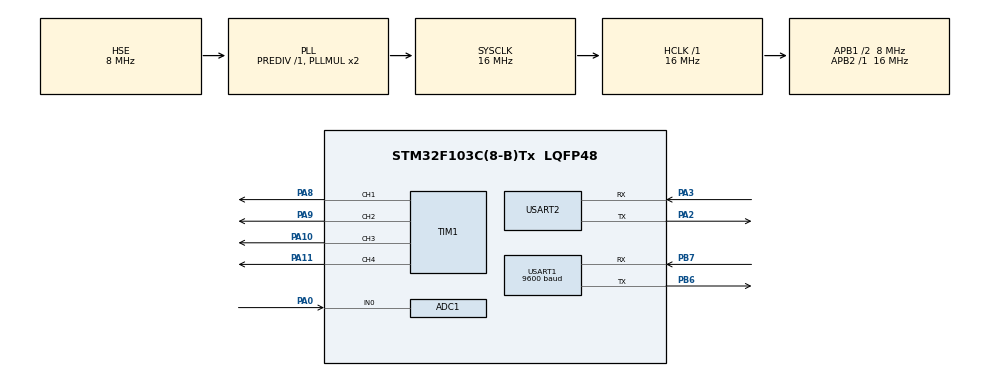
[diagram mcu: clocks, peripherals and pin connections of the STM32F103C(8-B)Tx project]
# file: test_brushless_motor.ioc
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ADC1.Channel-0\#ChannelRegularConversion=ADC_CHANNEL_0
ADC1.NbrOfConversionFlag=1
ADC1.Rank-0\#ChannelRegularConversion=1
ADC1.SamplingTime-0\#ChannelRegularConversion=ADC_SAMPLETIME_1CYCLE_5
ADC1.master=1
Mcu.Family=STM32F1
Mcu.Name=STM32F103C(8-B)Tx
Mcu.Package=LQFP48
NVIC.PriorityGroup=NVIC_PRIORITYGROUP_4
NVIC.USART1_IRQn=true\:0\:0\:false\:false\:true\:true\:true\:true
PA0-WKUP.Signal=ADCx_IN0
PA10.Signal=S_TIM1_CH3
PA11.Signal=S_TIM1_CH4
PA13.Mode=Serial_Wire
PA13.Signal=SYS_JTMS-SWDIO
PA14.Mode=Serial_Wire
PA14.Signal=SYS_JTCK-SWCLK
PA2.Mode=Asynchronous
PA2.Signal=USART2_TX
PA3.Mode=Asynchronous
PA3.Signal=USART2_RX
PA8.Signal=S_TIM1_CH1
PA9.Signal=S_TIM1_CH2
PB6.Mode=Asynchronous
PB6.Signal=USART1_TX
PB7.Mode=Asynchronous
PB7.Signal=USART1_RX
PD0-OSC_IN.Mode=HSE-External-Oscillator
PD0-OSC_IN.Signal=RCC_OSC_IN
PD1-OSC_OUT.Mode=HSE-External-Oscillator
PD1-OSC_OUT.Signal=RCC_OSC_OUT
ProjectManager.HeapSize=0x200
ProjectManager.StackSize=0x400
ProjectManager.TargetToolchain=MDK-ARM V5.32
RCC.AHBFreq_Value=16000000
RCC.APB1CLKDivider=RCC_HCLK_DIV2
RCC.APB1Freq_Value=8000000
RCC.APB1TimFreq_Value=16000000
RCC.APB2Freq_Value=16000000
RCC.APB2TimFreq_Value=16000000
RCC.EnbaleCSS=true
RCC.HCLKFreq_Value=16000000
RCC.PLLSourceVirtual=RCC_PLLSOURCE_HSE
RCC.SYSCLKFreq_VALUE=16000000
RCC.SYSCLKSource=RCC_SYSCLKSOURCE_PLLCLK
RCC.USBFreq_Value=16000000
SH.ADCx_IN0.0=ADC1_IN0,IN0
SH.S_TIM1_CH1.0=TIM1_CH1,PWM Generation1 CH1
SH.S_TIM1_CH2.0=TIM1_CH2,PWM Generation2 CH2
SH.S_TIM1_CH3.0=TIM1_CH3,PWM Generation3 CH3
SH.S_TIM1_CH4.0=TIM1_CH4,PWM Generation4 CH4
TIM1.Channel-PWM\ Generation1\ CH1=TIM_CHANNEL_1
TIM1.Channel-PWM\ Generation2\ CH2=TIM_CHANNEL_2
TIM1.Channel-PWM\ Generation3\ CH3=TIM_CHANNEL_3
TIM1.Channel-PWM\ Generation4\ CH4=TIM_CHANNEL_4
USART1.BaudRate=9600
USART1.VirtualMode=VM_ASYNC
USART2.VirtualMode=VM_ASYNC
board=custom

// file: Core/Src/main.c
/* USER CODE BEGIN Header */
/**
  ******************************************************************************
  * @file           : main.c
  * @brief          : Main program body
  ******************************************************************************
  * @attention
  *
  * Copyright (c) 2023 STMicroelectronics.
  * All rights reserved.
  *
  * This software is licensed under terms that can be found in the LICENSE file
  * in the root directory of this software component.
  * If no LICENSE file comes with this software, it is provided AS-IS.
  *
  ******************************************************************************
  */
/* USER CODE END Header */
#include "main.h"

ADC_HandleTypeDef hadc1;

TIM_HandleTypeDef htim1;

UART_HandleTypeDef huart1;
UART_HandleTypeDef huart2;

/* USER CODE BEGIN PV */
#define MAX_MOTOR_SPEED 15000
int z = 0, cnt = -1, x=0, y=0;
uint8_t bt, tmp[100];
uint8_t Rx_flag = 0;
int pot;
#define RX2_Size 8
uint8_t Rx2_Buff[RX2_Size];
float Pitch=0, Roll=0, Heading=0;
float Pitch_correction = 0, Roll_correction = 0, Heading_correction = 0;
float Pitch_set = 0, Roll_set = 0, Heading_set = 0;
float Roll_K_p = 30, Pitch_K_p = 30, Heading_K_p = 70;
uint8_t GY_A5[] = {0xA5}, GY_54[] = {0x54}, GY_51[] = {0x51}, GY_55[] = {0x55}, GY_Init_Command[]    = {0xA5, 0x54, 0xA5, 0x51}, GY_Request_Command[] = {0xA5, 0x51}, GY_Set_Command[] = {0xA5, 0x55};
void initGY(){
	HAL_Delay(500);
	HAL_UART_Transmit(&huart2, GY_A5, 1, 100);
	HAL_UART_Transmit(&huart2, GY_54, 1, 100);
	HAL_Delay(500);
	HAL_UART_Transmit(&huart2, GY_A5, 1, 100);
	HAL_UART_Transmit(&huart2, GY_51, 1, 100);
	HAL_Delay(500);
	HAL_UART_Transmit(&huart2, GY_A5, 1, 100);
	HAL_UART_Transmit(&huart2, GY_55, 1, 100);
	HAL_Delay(500);
}
void readGY(){
	HAL_UART_Transmit(&huart2, GY_A5, 1, 100);
	HAL_UART_Transmit(&huart2, GY_51, 1, 100);
	HAL_UART_Receive(&huart2, Rx2_Buff, RX2_Size, 100);
	for(int i=0; i<RX2_Size; i++){
		if(Rx2_Buff[i] == 0xAA){
			Heading = (int16_t)(Rx2_Buff[(i+1)%8]<<8 | Rx2_Buff[(i+2)%8])/100.00 + Heading_set;
			Pitch = (int16_t)(Rx2_Buff[(i+3)%8]<<8 | Rx2_Buff[(i+4)%8])/100.00 + Pitch_set + y;
			Roll = (int16_t)(Rx2_Buff[(i+5)%8]<<8 | Rx2_Buff[(i+6)%8])/100.00 + Roll_set + x;

			if(Heading > 180) Heading -= 360;
			if(Heading <-180) Heading += 360;
			if(Pitch > 180) Pitch -= 360;
			if(Pitch <-180) Pitch += 360;
			if(Roll > 180) Roll -= 360;
			if(Roll <-180) Roll += 360;
		}
	}
}
void delay(long int _time){
	for(int i=0; i<_time*1000;i++);
}
void motor(int FL, int BL, int BR, int FR){
	BL -= 160+50;
	FL -= 50;
	FR -= 50;
	if(FL > MAX_MOTOR_SPEED) FL = MAX_MOTOR_SPEED;
	if(FL < 0)   						 FL = 0;
	if(BL > MAX_MOTOR_SPEED) BL = MAX_MOTOR_SPEED;
	if(BL < 0)  						 BL = 0;
	if(BR > MAX_MOTOR_SPEED) BR = MAX_MOTOR_SPEED;
	if(BR < 0) 							 BR = 0;
	if(FR > MAX_MOTOR_SPEED) FR = MAX_MOTOR_SPEED;
	if(FR < 0) 							 FR = 0;

	TIM1->CCR1 = 16000 + BR; //BR
	TIM1->CCR2 = 16000 + BL; //BL
	TIM1->CCR3 = 16000 + FL; //FL
	TIM1->CCR4 = 16000 + FR; //FR
}
void HAL_UART_RxCpltCallback(UART_HandleTypeDef *huart)
{
	cnt++;
	tmp[cnt] = bt;
	if(cnt >= 100){
		for(int i=0; i<100; i++) tmp[i] = 0;
		cnt = -1;
	}
	Rx_flag = 1;
	HAL_UART_Receive_IT(&huart1, &bt, 1);
}

/* USER CODE END PV */

void SystemClock_Config(void);
static void MX_GPIO_Init(void);
static void MX_ADC1_Init(void);
static void MX_TIM1_Init(void);
static void MX_USART2_UART_Init(void);
static void MX_USART1_UART_Init(void);

int main(void)
{

  /* MCU Configuration-------------------------------------------------------*/

  /* Reset of all peripherals, Initializes the Flash interface and the Systick. */
  HAL_Init();

  /* Configure the system clock */
  SystemClock_Config();

  /* Initialize all configured peripherals */
  MX_GPIO_Init();
  MX_ADC1_Init();
  MX_TIM1_Init();
  MX_USART2_UART_Init();
  MX_USART1_UART_Init();
  /* USER CODE BEGIN 2 */

	HAL_TIM_PWM_Start(&htim1, TIM_CHANNEL_1);
	HAL_TIM_PWM_Start(&htim1, TIM_CHANNEL_2);
	HAL_TIM_PWM_Start(&htim1, TIM_CHANNEL_3);
	HAL_TIM_PWM_Start(&htim1, TIM_CHANNEL_4);
	initGY();
	HAL_UART_Receive_IT(&huart1, &bt, 1);

  /* USER CODE END 2 */

  /* Infinite loop */
  while (1)
  {

    /* USER CODE BEGIN 3 */
//		HAL_ADC_Start(&hadc1);
//	  HAL_ADC_PollForConversion(&hadc1, 100);
//	  pot = HAL_ADC_GetValue(&hadc1)*3.42+16000;
//	  HAL_ADC_Stop(&hadc1);
//		if(pot > 65535) pot = 65535;
		if(Rx_flag == 1){
			if(tmp[cnt] == '\n'){
				for(int i = cnt-1; i >= cnt - 5 && tmp[i] != '\n'; i--){
					if(tmp[i] == 'J'){
						z = 0;
						for(int j=i+1; j<cnt; j++){
							z = z*10 + (tmp[j]-'0');
						}
						z = z*32;
						i = -1;
					}
					if(tmp[i] == 'X')	Roll_set  += 0.5;
					if(tmp[i] == 'Y')	Roll_set  -= 0.5;
					if(tmp[i] == 'N')	Pitch_set += 0.5;
					if(tmp[i] == 'M')	Pitch_set -= 0.5;
					if(tmp[i] == 'F')	y = -15;
					if(tmp[i] == 'G')	y = 15;
					if(tmp[i] == 'R')	x = -15;
					if(tmp[i] == 'L')	x = 15;
					if(tmp[i] == 'S')	{
						x = 0;
						y = 0;
					}
				}
			}
			Rx_flag = 0;
		}

		if(z == 0){
			Roll_correction = 0;
			Pitch_correction = 0;
			Heading_correction = 0;
		}
		else{
			Roll_correction = Roll * Roll_K_p;
			Pitch_correction = Pitch * Pitch_K_p;
			Heading_correction = Heading * Heading_K_p;
		}

		if(Roll > 40 || Roll < -40 || Pitch > 40 || Pitch < -40){
			motor(0,0,0,0);
		}
		else {
			//motor(z, z, z, z);
			motor(
				z - Roll_correction + Pitch_correction + Heading_correction,
				z - Roll_correction - Pitch_correction - Heading_correction,
				z + Roll_correction - Pitch_correction + Heading_correction,
				z + Roll_correction + Pitch_correction - Heading_correction
			);
		}
		//motor(0, 0, 0, 0);
		readGY();

  }
  /* USER CODE END 3 */
}

void SystemClock_Config(void)
{
  RCC_OscInitTypeDef RCC_OscInitStruct = {0};
  RCC_ClkInitTypeDef RCC_ClkInitStruct = {0};
  RCC_PeriphCLKInitTypeDef PeriphClkInit = {0};

  /** Initializes the RCC Oscillators according to the specified parameters
  * in the RCC_OscInitTypeDef structure.
  */
  RCC_OscInitStruct.OscillatorType = RCC_OSCILLATORTYPE_HSE;
  RCC_OscInitStruct.HSEState = RCC_HSE_ON;
  RCC_OscInitStruct.HSEPredivValue = RCC_HSE_PREDIV_DIV1;
  RCC_OscInitStruct.HSIState = RCC_HSI_ON;
  RCC_OscInitStruct.PLL.PLLState = RCC_PLL_ON;
  RCC_OscInitStruct.PLL.PLLSource = RCC_PLLSOURCE_HSE;
  RCC_OscInitStruct.PLL.PLLMUL = RCC_PLL_MUL2;
  if (HAL_RCC_OscConfig(&RCC_OscInitStruct) != HAL_OK)
  {
    Error_Handler();
  }

  /** Initializes the CPU, AHB and APB buses clocks
  */
  RCC_ClkInitStruct.ClockType = RCC_CLOCKTYPE_HCLK|RCC_CLOCKTYPE_SYSCLK
                              |RCC_CLOCKTYPE_PCLK1|RCC_CLOCKTYPE_PCLK2;
  RCC_ClkInitStruct.SYSCLKSource = RCC_SYSCLKSOURCE_PLLCLK;
  RCC_ClkInitStruct.AHBCLKDivider = RCC_SYSCLK_DIV1;
  RCC_ClkInitStruct.APB1CLKDivider = RCC_HCLK_DIV2;
  RCC_ClkInitStruct.APB2CLKDivider = RCC_HCLK_DIV1;

  if (HAL_RCC_ClockConfig(&RCC_ClkInitStruct, FLASH_LATENCY_0) != HAL_OK)
  {
    Error_Handler();
  }
  PeriphClkInit.PeriphClockSelection = RCC_PERIPHCLK_ADC;
  PeriphClkInit.AdcClockSelection = RCC_ADCPCLK2_DIV2;
  if (HAL_RCCEx_PeriphCLKConfig(&PeriphClkInit) != HAL_OK)
  {
    Error_Handler();
  }

  /** Enables the Clock Security System
  */
  HAL_RCC_EnableCSS();
}

static void MX_ADC1_Init(void)
{

  ADC_ChannelConfTypeDef sConfig = {0};

  /** Common config
  */
  hadc1.Instance = ADC1;
  hadc1.Init.ScanConvMode = ADC_SCAN_DISABLE;
  hadc1.Init.ContinuousConvMode = DISABLE;
  hadc1.Init.DiscontinuousConvMode = DISABLE;
  hadc1.Init.ExternalTrigConv = ADC_SOFTWARE_START;
  hadc1.Init.DataAlign = ADC_DATAALIGN_RIGHT;
  hadc1.Init.NbrOfConversion = 1;
  if (HAL_ADC_Init(&hadc1) != HAL_OK)
  {
    Error_Handler();
  }

  /** Configure Regular Channel
  */
  sConfig.Channel = ADC_CHANNEL_0;
  sConfig.Rank = ADC_REGULAR_RANK_1;
  sConfig.SamplingTime = ADC_SAMPLETIME_1CYCLE_5;
  if (HAL_ADC_ConfigChannel(&hadc1, &sConfig) != HAL_OK)
  {
    Error_Handler();
  }

}

static void MX_TIM1_Init(void)
{

  TIM_MasterConfigTypeDef sMasterConfig = {0};
  TIM_OC_InitTypeDef sConfigOC = {0};
  TIM_BreakDeadTimeConfigTypeDef sBreakDeadTimeConfig = {0};

  htim1.Instance = TIM1;
  htim1.Init.Prescaler = 0;
  htim1.Init.CounterMode = TIM_COUNTERMODE_UP;
  htim1.Init.Period = 65535;
  htim1.Init.ClockDivision = TIM_CLOCKDIVISION_DIV1;
  htim1.Init.RepetitionCounter = 0;
  htim1.Init.AutoReloadPreload = TIM_AUTORELOAD_PRELOAD_DISABLE;
  if (HAL_TIM_PWM_Init(&htim1) != HAL_OK)
  {
    Error_Handler();
  }
  sMasterConfig.MasterOutputTrigger = TIM_TRGO_RESET;
  sMasterConfig.MasterSlaveMode = TIM_MASTERSLAVEMODE_DISABLE;
  if (HAL_TIMEx_MasterConfigSynchronization(&htim1, &sMasterConfig) != HAL_OK)
  {
    Error_Handler();
  }
  sConfigOC.OCMode = TIM_OCMODE_PWM1;
  sConfigOC.Pulse = 0;
  sConfigOC.OCPolarity = TIM_OCPOLARITY_HIGH;
  sConfigOC.OCNPolarity = TIM_OCNPOLARITY_HIGH;
  sConfigOC.OCFastMode = TIM_OCFAST_DISABLE;
  sConfigOC.OCIdleState = TIM_OCIDLESTATE_RESET;
  sConfigOC.OCNIdleState = TIM_OCNIDLESTATE_RESET;
  if (HAL_TIM_PWM_ConfigChannel(&htim1, &sConfigOC, TIM_CHANNEL_1) != HAL_OK)
  {
    Error_Handler();
  }
  if (HAL_TIM_PWM_ConfigChannel(&htim1, &sConfigOC, TIM_CHANNEL_2) != HAL_OK)
  {
    Error_Handler();
  }
  if (HAL_TIM_PWM_ConfigChannel(&htim1, &sConfigOC, TIM_CHANNEL_3) != HAL_OK)
  {
    Error_Handler();
  }
  if (HAL_TIM_PWM_ConfigChannel(&htim1, &sConfigOC, TIM_CHANNEL_4) != HAL_OK)
  {
    Error_Handler();
  }
  sBreakDeadTimeConfig.OffStateRunMode = TIM_OSSR_DISABLE;
  sBreakDeadTimeConfig.OffStateIDLEMode = TIM_OSSI_DISABLE;
  sBreakDeadTimeConfig.LockLevel = TIM_LOCKLEVEL_OFF;
  sBreakDeadTimeConfig.DeadTime = 0;
  sBreakDeadTimeConfig.BreakState = TIM_BREAK_DISABLE;
  sBreakDeadTimeConfig.BreakPolarity = TIM_BREAKPOLARITY_HIGH;
  sBreakDeadTimeConfig.AutomaticOutput = TIM_AUTOMATICOUTPUT_DISABLE;
  if (HAL_TIMEx_ConfigBreakDeadTime(&htim1, &sBreakDeadTimeConfig) != HAL_OK)
  {
    Error_Handler();
  }
  HAL_TIM_MspPostInit(&htim1);

}

static void MX_USART1_UART_Init(void)
{

  huart1.Instance = USART1;
  huart1.Init.BaudRate = 9600;
  huart1.Init.WordLength = UART_WORDLENGTH_8B;
  huart1.Init.StopBits = UART_STOPBITS_1;
  huart1.Init.Parity = UART_PARITY_NONE;
  huart1.Init.Mode = UART_MODE_TX_RX;
  huart1.Init.HwFlowCtl = UART_HWCONTROL_NONE;
  huart1.Init.OverSampling = UART_OVERSAMPLING_16;
  if (HAL_UART_Init(&huart1) != HAL_OK)
  {
    Error_Handler();
  }

}

static void MX_USART2_UART_Init(void)
{

  huart2.Instance = USART2;
  huart2.Init.BaudRate = 115200;
  huart2.Init.WordLength = UART_WORDLENGTH_8B;
  huart2.Init.StopBits = UART_STOPBITS_1;
  huart2.Init.Parity = UART_PARITY_NONE;
  huart2.Init.Mode = UART_MODE_TX_RX;
  huart2.Init.HwFlowCtl = UART_HWCONTROL_NONE;
  huart2.Init.OverSampling = UART_OVERSAMPLING_16;
  if (HAL_UART_Init(&huart2) != HAL_OK)
  {
    Error_Handler();
  }

}

static void MX_GPIO_Init(void)
{

  /* GPIO Ports Clock Enable */
  __HAL_RCC_GPIOD_CLK_ENABLE();
  __HAL_RCC_GPIOA_CLK_ENABLE();
  __HAL_RCC_GPIOB_CLK_ENABLE();

}

void Error_Handler(void)
{
  __disable_irq();
  while (1)
  {
  }
}
